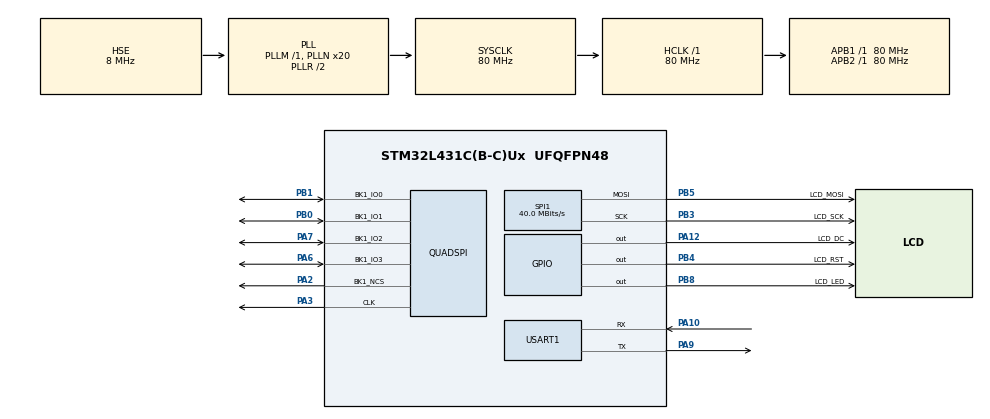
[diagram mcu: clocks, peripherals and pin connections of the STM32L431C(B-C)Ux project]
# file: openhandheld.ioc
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Dma.Request0=SPI1_TX
Dma.SPI1_TX.0.Direction=DMA_MEMORY_TO_PERIPH
Dma.SPI1_TX.0.Instance=DMA1_Channel3
Dma.SPI1_TX.0.MemDataAlignment=DMA_MDATAALIGN_BYTE
Dma.SPI1_TX.0.MemInc=DMA_MINC_ENABLE
Dma.SPI1_TX.0.Mode=DMA_NORMAL
Dma.SPI1_TX.0.PeriphDataAlignment=DMA_PDATAALIGN_BYTE
Dma.SPI1_TX.0.PeriphInc=DMA_PINC_DISABLE
Dma.SPI1_TX.0.Priority=DMA_PRIORITY_LOW
Mcu.Family=STM32L4
Mcu.Name=STM32L431C(B-C)Ux
Mcu.Package=UFQFPN48
NVIC.DMA1_Channel3_IRQn=true\:0\:0\:false\:false\:true\:false\:true
NVIC.PriorityGroup=NVIC_PRIORITYGROUP_4
NVIC.TIM6_DAC_IRQn=true\:0\:0\:false\:false\:true\:true\:true
PA10.Mode=Asynchronous
PA10.Signal=USART1_RX
PA12.GPIO_Label=LCD_DC
PA12.GPIO_Speed=GPIO_SPEED_FREQ_VERY_HIGH
PA12.Signal=GPIO_Output
PA13\ (JTMS-SWDIO).Mode=Serial_Wire
PA13\ (JTMS-SWDIO).Signal=SYS_JTMS-SWDIO
PA14\ (JTCK-SWCLK).Mode=Serial_Wire
PA14\ (JTCK-SWCLK).Signal=SYS_JTCK-SWCLK
PA2.Mode=Single Bank 1
PA2.Signal=QUADSPI_BK1_NCS
PA3.Mode=Single Bank 1
PA3.Signal=QUADSPI_CLK
PA6.Mode=Single Bank 1
PA6.Signal=QUADSPI_BK1_IO3
PA7.Mode=Single Bank 1
PA7.Signal=QUADSPI_BK1_IO2
PA9.Mode=Asynchronous
PA9.Signal=USART1_TX
PB0.Mode=Single Bank 1
PB0.Signal=QUADSPI_BK1_IO1
PB1.Mode=Single Bank 1
PB1.Signal=QUADSPI_BK1_IO0
PB3\ (JTDO-TRACESWO).GPIO_Label=LCD_SCK
PB3\ (JTDO-TRACESWO).Mode=TX_Only_Simplex_Unidirect_Master
PB3\ (JTDO-TRACESWO).Signal=SPI1_SCK
PB4\ (NJTRST).GPIO_Label=LCD_RST
PB4\ (NJTRST).GPIO_Speed=GPIO_SPEED_FREQ_VERY_HIGH
PB4\ (NJTRST).Signal=GPIO_Output
PB5.GPIO_Label=LCD_MOSI
PB5.Mode=TX_Only_Simplex_Unidirect_Master
PB5.Signal=SPI1_MOSI
PB8.GPIO_Label=LCD_LED
PB8.GPIO_Speed=GPIO_SPEED_FREQ_VERY_HIGH
PB8.Signal=GPIO_Output
PH0-OSC_IN\ (PH0).Mode=HSE-External-Clock-Source
PH0-OSC_IN\ (PH0).Signal=RCC_OSC_IN
ProjectManager.HeapSize=0x200
ProjectManager.StackSize=0x400
ProjectManager.TargetToolchain=SW4STM32
RCC.ADCFreq_Value=32000000
RCC.AHBFreq_Value=80000000
RCC.APB1Freq_Value=80000000
RCC.APB1TimFreq_Value=80000000
RCC.APB2Freq_Value=80000000
RCC.APB2TimFreq_Value=80000000
RCC.CortexFreq_Value=80000000
RCC.HCLKFreq_Value=80000000
RCC.HSE_VALUE=8000000
RCC.HSI48_VALUE=48000000
RCC.HSI_VALUE=16000000
RCC.LSE_VALUE=32768
RCC.MSI_VALUE=4000000
RCC.PLLN=20
RCC.PLLSourceVirtual=RCC_PLLSOURCE_HSE
RCC.SYSCLKFreq_VALUE=80000000
RCC.SYSCLKSource=RCC_SYSCLKSOURCE_PLLCLK
RCC.VCOOutputFreq_Value=160000000
SPI1.BaudRatePrescaler=SPI_BAUDRATEPRESCALER_2
SPI1.CLKPhase=SPI_PHASE_2EDGE
SPI1.CLKPolarity=SPI_POLARITY_HIGH
SPI1.CalculateBaudRate=40.0 MBits/s
SPI1.DataSize=SPI_DATASIZE_8BIT
SPI1.Direction=SPI_DIRECTION_2LINES
SPI1.Mode=SPI_MODE_MASTER
SPI1.VirtualType=VM_MASTER
TIM6.Period=5000-1
TIM6.Prescaler=80-1
USART1.VirtualMode-Asynchronous=VM_ASYNC
VP_TIM6_VS_ClockSourceINT.Mode=Enable_Timer
board=custom

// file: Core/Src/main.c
/* USER CODE BEGIN Header */
/**
  ******************************************************************************
  * @file           : main.c
  * @brief          : Main program body
  ******************************************************************************
  * @attention
  *
  * <h2><center>&copy; Copyright (c) 2021 STMicroelectronics.
  * All rights reserved.</center></h2>
  *
  * This software component is licensed by ST under BSD 3-Clause license,
  * the "License"; You may not use this file except in compliance with the
  * License. You may obtain a copy of the License at:
  *                        opensource.org/licenses/BSD-3-Clause
  *
  ******************************************************************************
  */
/* USER CODE END Header */
#include "main.h"
#include "dma.h"
#include "quadspi.h"
#include "spi.h"
#include "tim.h"
#include "usart.h"
#include "gpio.h"

/* USER CODE BEGIN Includes */
#include "lcd.h"
#include "lvgl.h"
#include "lv_port_disp.h"
#include "stdbool.h"
#include "stdio.h"
/* USER CODE END Includes */

/* USER CODE BEGIN PV */
bool lvtick;
int a;

LV_IMG_DECLARE(watch_bg);
LV_IMG_DECLARE(hour);
LV_IMG_DECLARE(minute);
LV_IMG_DECLARE(second);

lv_obj_t *lvMinute;
lv_obj_t *lvHour;
lv_obj_t *lvSecond;

uint8_t Minute = 59;
uint8_t Hour = 8;
uint8_t Second = 2;
/* USER CODE END PV */

void SystemClock_Config(void);
/* USER CODE BEGIN PFP */
static void update_time(struct _lv_task_t *arg) {
    if (lvHour != NULL) {
        // Hour,Minute,Second;
        uint16_t h = Hour * 300 + Minute / 12 % 12 * 60;
        lv_img_set_angle(lvHour, h);
        lv_img_set_angle(lvMinute, Minute * 6 * 10);
        lv_img_set_angle(lvSecond, Second * 6 * 10);
    }
    if (++Second >= 60) {
        Second = 0;
        if (++Minute >= 60) {
            Minute = 0;
            if (++Hour >= 12) Hour = 0;
        }
    }
}

void analog(lv_obj_t *win) {
    lv_obj_t *central = win;

    lv_obj_set_size(central, LV_HOR_RES_MAX, LV_VER_RES_MAX);
    lv_obj_set_pos(central, 0, 0);

    lv_obj_t *img = lv_img_create(central, NULL);
    lv_img_set_src(img, &watch_bg);

    lv_obj_set_size(img, 200, 200);
    lv_obj_set_auto_realign(img, true);
    lv_obj_align(img, central, LV_ALIGN_CENTER, 0, 0);

    lvHour = lv_img_create(central, NULL);
    lv_img_set_src(lvHour, &hour);
    lv_obj_align(lvHour, img, LV_ALIGN_CENTER, 0, 0);
    uint16_t h = Hour * 300 + Minute / 12 % 12 * 60;
    lv_img_set_angle(lvHour, h);

    lvMinute = lv_img_create(central, NULL);
    lv_img_set_src(lvMinute, &minute);
    lv_obj_align(lvMinute, img, LV_ALIGN_CENTER, 0, 0);
    lv_img_set_angle(lvHour, Minute * 60);

    lvSecond = lv_img_create(central, NULL);
    lv_img_set_src(lvSecond, &second);
    lv_obj_align(lvSecond, img, LV_ALIGN_CENTER, 0, 0);
    lv_img_set_angle(lvSecond, Second * 60);

    lv_task_create(update_time, 1000, LV_TASK_PRIO_LOW, NULL);
}
/* USER CODE END PFP */

int main(void) {

    /* MCU Configuration--------------------------------------------------------*/

    /* Reset of all peripherals, Initializes the Flash interface and the Systick. */
    HAL_Init();

    /* Configure the system clock */
    SystemClock_Config();

    /* Initialize all configured peripherals */
    MX_GPIO_Init();
    MX_DMA_Init();
    MX_SPI1_Init();
    MX_TIM6_Init();
    MX_QUADSPI_Init();
    MX_USART1_UART_Init();
    /* USER CODE BEGIN 2 */
//    HAL_GPIO_WritePin(LED_R_GPIO_Port, LED_R_Pin, GPIO_PIN_SET);
//    HAL_GPIO_WritePin(LED_G_GPIO_Port, LED_G_Pin, GPIO_PIN_SET);
//    HAL_GPIO_WritePin(LED_B_GPIO_Port, LED_B_Pin, GPIO_PIN_SET);
    lvtick = false;
    lv_init();
    lv_port_disp_init();
    analog(lv_scr_act());
    HAL_TIM_Base_Start_IT(&htim6);
    /* USER CODE END 2 */

    /* Infinite loop */
    /* USER CODE BEGIN WHILE */
    while (1) {
        if (lvtick) {
            lv_tick_inc(5);
            lv_task_handler();
            lvtick = false;
        }
        /* USER CODE END WHILE */

    }
}

void SystemClock_Config(void) {
    RCC_OscInitTypeDef RCC_OscInitStruct = {0};
    RCC_ClkInitTypeDef RCC_ClkInitStruct = {0};
    RCC_PeriphCLKInitTypeDef PeriphClkInit = {0};

    /** Initializes the RCC Oscillators according to the specified parameters
    * in the RCC_OscInitTypeDef structure.
    */
    RCC_OscInitStruct.OscillatorType = RCC_OSCILLATORTYPE_HSE;
    RCC_OscInitStruct.HSEState = RCC_HSE_BYPASS;
    RCC_OscInitStruct.PLL.PLLState = RCC_PLL_ON;
    RCC_OscInitStruct.PLL.PLLSource = RCC_PLLSOURCE_HSE;
    RCC_OscInitStruct.PLL.PLLM = 1;
    RCC_OscInitStruct.PLL.PLLN = 20;
    RCC_OscInitStruct.PLL.PLLP = RCC_PLLP_DIV7;
    RCC_OscInitStruct.PLL.PLLQ = RCC_PLLQ_DIV2;
    RCC_OscInitStruct.PLL.PLLR = RCC_PLLR_DIV2;
    if (HAL_RCC_OscConfig(&RCC_OscInitStruct) != HAL_OK) {
        Error_Handler();
    }
    /** Initializes the CPU, AHB and APB buses clocks
    */
    RCC_ClkInitStruct.ClockType = RCC_CLOCKTYPE_HCLK | RCC_CLOCKTYPE_SYSCLK
                                  | RCC_CLOCKTYPE_PCLK1 | RCC_CLOCKTYPE_PCLK2;
    RCC_ClkInitStruct.SYSCLKSource = RCC_SYSCLKSOURCE_PLLCLK;
    RCC_ClkInitStruct.AHBCLKDivider = RCC_SYSCLK_DIV1;
    RCC_ClkInitStruct.APB1CLKDivider = RCC_HCLK_DIV1;
    RCC_ClkInitStruct.APB2CLKDivider = RCC_HCLK_DIV1;

    if (HAL_RCC_ClockConfig(&RCC_ClkInitStruct, FLASH_LATENCY_4) != HAL_OK) {
        Error_Handler();
    }
    PeriphClkInit.PeriphClockSelection = RCC_PERIPHCLK_USART1;
    PeriphClkInit.Usart1ClockSelection = RCC_USART1CLKSOURCE_PCLK2;
    if (HAL_RCCEx_PeriphCLKConfig(&PeriphClkInit) != HAL_OK) {
        Error_Handler();
    }
    /** Configure the main internal regulator output voltage
    */
    if (HAL_PWREx_ControlVoltageScaling(PWR_REGULATOR_VOLTAGE_SCALE1) != HAL_OK) {
        Error_Handler();
    }
}

/* USER CODE BEGIN 4 */
void HAL_TIM_PeriodElapsedCallback(TIM_HandleTypeDef *htim) {
    lvtick = true;
}

/* USER CODE END 4 */

void Error_Handler(void) {
    __disable_irq();
    while (1) {
    }
}

/************************ (C) COPYRIGHT STMicroelectronics *****END OF FILE****/
